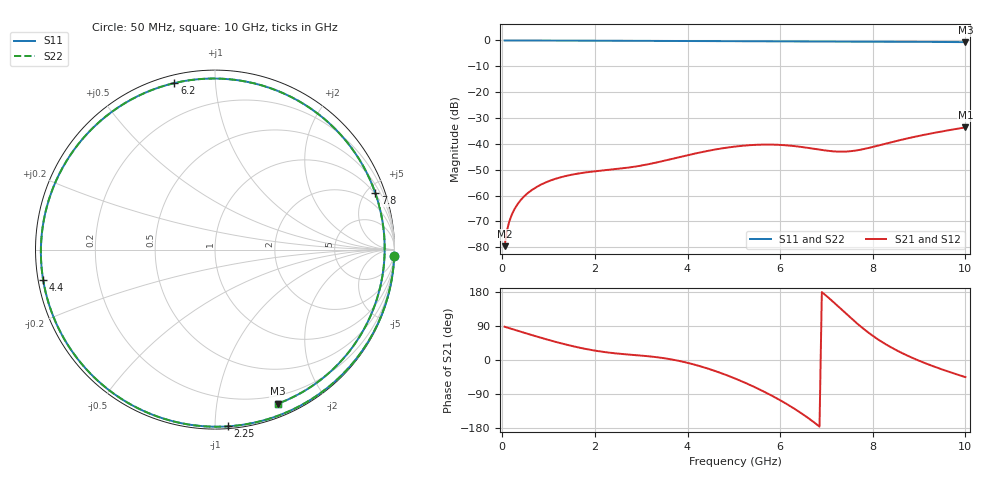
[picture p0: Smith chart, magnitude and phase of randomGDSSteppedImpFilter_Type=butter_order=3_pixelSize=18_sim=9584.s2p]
! freq	dB(S11)	phase(S11)	dB(S12)	phase(S12)
!  dB(S21)	phase(S21)	dB(S22)	phase(S22)
!S-par simulation data
#  GHz  S  DB  R 50
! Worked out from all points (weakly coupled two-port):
!   200 points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, 50 MHz to 10 GHz, reference 50 ohm
!   highest |S21| = -33.63 dB at 10 GHz (marker M1); lowest = -79.6 dB at 50 MHz (marker M2)
!   lowest |S11| = -0.7 dB at 10 GHz (marker M3), VSWR 26.38, Z = 6.06 - j73.9 ohm
!   |S11| at or under -10 dB: nowhere
!   |S22| runs from -0.7 to 0.0 dB; largest |S21 - S12| = 0
!   S11 on the Smith chart (normalised r, x): 50 MHz: 1, -58; 2.25 GHz: 0.01, -1.08; 4.4 GHz: 0.01, -0.09; 6.2 GHz: 0.04, +0.78; 7.8 GHz: 0.93, +5.70; 10 GHz: 0.12, -1.48
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0.05  -0.01 -2.0  -79.58 87.8  -79.58 87.8  -0.01 -2.0
0.1  -0.01 -3.9  -73.60 85.9  -73.60 85.9  -0.01 -3.9
0.2  -0.01 -7.8  -67.62 82.2  -67.62 82.2  -0.01 -7.8
0.35  -0.02 -13.6  -62.84 76.5  -62.84 76.5  -0.02 -13.6
0.5  -0.02 -19.3  -59.85 70.9  -59.85 70.9  -0.02 -19.3
1  -0.05 -38.5  -54.46 52.9  -54.46 52.9  -0.05 -38.5
1.75  -0.09 -66.9  -51.18 30.4  -51.18 30.4  -0.09 -66.9
2.25  -0.11 -85.7  -50.16 20.3  -50.16 20.3  -0.11 -85.7
2.8  -0.14 -106.5  -48.99 13.6  -48.99 13.6  -0.14 -106.5
3.4  -0.17 -129.5  -46.93 6.4  -46.93 6.4  -0.17 -129.5
3.95  -0.21 -151.3  -44.61 -6.0  -44.61 -6.0  -0.21 -151.3
4.4  -0.24 -170.0  -42.86 -21.1  -42.86 -21.1  -0.24 -170.1
5.05  -0.30 161.1  -41.00 -50.0  -41.00 -50.0  -0.30 161.1
5.6  -0.35 134.6  -40.30 -80.4  -40.30 -80.4  -0.35 134.6
6.2  -0.40 103.7  -40.67 -120.4  -40.67 -120.4  -0.40 103.7
6.7  -0.43 76.9  -41.83 -161.6  -41.83 -161.6  -0.43 76.9
7.3  -0.46 44.9  -43.02 136.2  -43.02 136.2  -0.46 44.8
7.8  -0.47 19.4  -42.03 82.3  -42.03 82.3  -0.47 19.4
8.35  -0.49 -6.3  -39.61 36.5  -39.61 36.5  -0.49 -6.3
8.75  -0.52 -23.3  -37.88 11.5  -37.88 11.5  -0.52 -23.4
9.2  -0.56 -40.8  -36.19 -11.6  -36.19 -11.6  -0.56 -40.8
10  -0.66 -67.9  -33.63 -45.2  -33.63 -45.2  -0.66 -67.9
